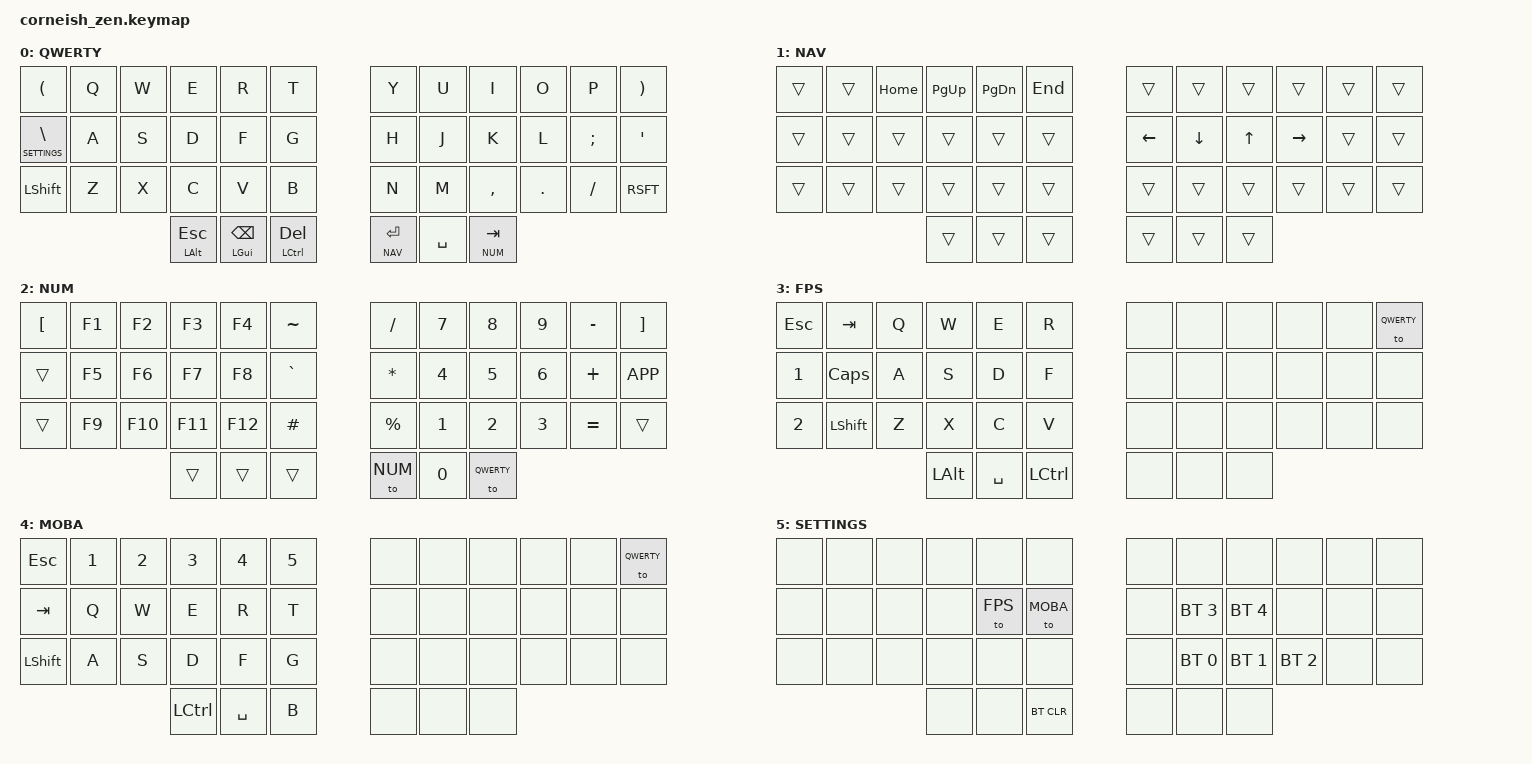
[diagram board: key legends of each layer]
/*
*
* Copyright (c) 2021 Darryl deHaan
* SPDX-License-Identifier: MIT
*
*/

#include <behaviors.dtsi>
#include <dt-bindings/zmk/keys.h>
#include <dt-bindings/zmk/bt.h>

#define QWERTY 0
#define NAV 1
#define NUM 2
#define FPS 3
#define MOBA 4
#define SETTINGS 5

&lt {
        quick-tap-ms = <200>;
};

&mt {
        quick-tap-ms = <200>;
};

/ {
        chosen {
                zmk,matrix_transform = &default_transform;
        };
};

/ {
        keymap {
                compatible = "zmk,keymap";

                default_layer {
                        label = "QWERTY";
                        bindings = <
&kp LPAR          &kp Q &kp W &kp E        &kp R         &kp T        &kp Y       &kp U    &kp I    &kp O   &kp P    &kp RPAR
&lt SETTINGS BSLH &kp A &kp S &kp D        &kp F         &kp G        &kp H       &kp J    &kp K    &kp L   &kp SEMI &kp SQT
&kp LSHFT         &kp Z &kp X &kp C        &kp V         &kp B        &kp N       &kp M    &kp CMMA &kp DOT &kp FSLH &kp RSFT
                              &mt LALT ESC &mt LGUI BSPC &mt LCTL DEL &lt NAV RET &kp SPC  &lt NUM TAB
                        >;
                };

                // TODO: Add mouse keys here
                nav_layer {
                        label = "NAV";
                        bindings = <
&trans &trans &kp HOME &kp PG_UP &kp PG_DN &kp END &trans   &trans   &trans &trans    &trans &trans
&trans &trans &trans   &trans    &trans    &trans  &kp LEFT &kp DOWN &kp UP &kp RIGHT &trans &trans
&trans &trans &trans   &trans    &trans    &trans  &trans   &trans   &trans &trans    &trans &trans
                       &trans    &trans    &trans  &trans   &trans   &trans
                        >;
                };

                num_layer {
                        label = "NUM";
                        bindings = <
&kp LBKT &kp F1 &kp F2  &kp F3  &kp F4  &kp TILDE &kp FSLH   &kp N7 &kp N8 &kp N9 &kp MINUS &kp RBKT
&trans   &kp F5 &kp F6  &kp F7  &kp F8  &kp GRAVE &kp ASTRK  &kp N4 &kp N5 &kp N6 &kp PLUS  &kp K_APP
&trans   &kp F9 &kp F10 &kp F11 &kp F12 &kp HASH  &kp PRCNT  &kp N1 &kp N2 &kp N3 &kp EQUAL &trans
                        &trans  &trans  &trans    &to NUM    &kp N0 &to QWERTY
                        >;
                };

                fps_layer {
                        label = "FPS";
                        bindings = <
&kp ESC &kp TAB   &kp Q &kp W    &kp E   &kp R    &none &none &none &none &none &to QWERTY
&kp N1  &kp CAPS  &kp A &kp S    &kp D   &kp F    &none &none &none &none &none &none
&kp N2  &kp LSHFT &kp Z &kp X    &kp C   &kp V    &none &none &none &none &none &none
                        &kp LALT &kp SPC &kp LCTL &none &none &none
                        >;
                };

                moba_layer {
                        label = "MOBA";
                        bindings = <
&kp ESC   &kp N1 &kp N2 &kp N3   &kp N4  &kp N5 &none &none &none &none &none &to QWERTY
&kp TAB   &kp Q  &kp W  &kp E    &kp R   &kp T  &none &none &none &none &none &none
&kp LSHFT &kp A  &kp S  &kp D    &kp F   &kp G  &none &none &none &none &none &none
                        &kp LCTL &kp SPC &kp B  &none &none &none
                        >;
                };

                settings_layer {
                        label = "SETTINGS";
                        bindings = <
&none &none &none &none &none   &none      &none &none        &none        &none        &none &none
&none &none &none &none &to FPS &to MOBA   &none &bt BT_SEL 3 &bt BT_SEL 4 &none        &none &none
&none &none &none &none &none   &none      &none &bt BT_SEL 0 &bt BT_SEL 1 &bt BT_SEL 2 &none &none
                  &none &none   &bt BT_CLR &none &none        &none
                        >;
                };
        };
};
